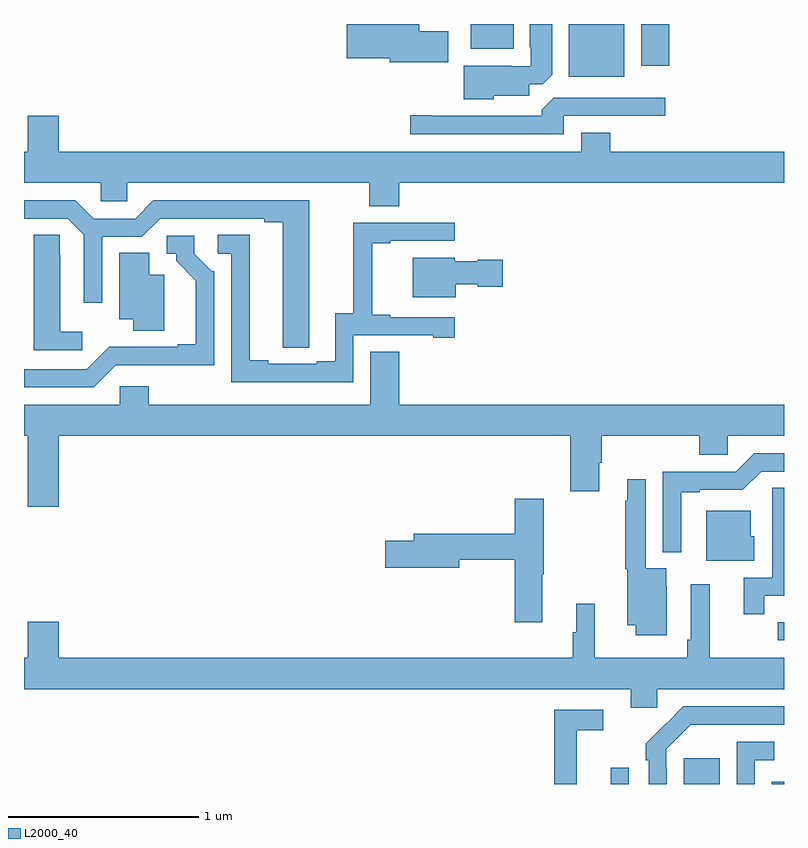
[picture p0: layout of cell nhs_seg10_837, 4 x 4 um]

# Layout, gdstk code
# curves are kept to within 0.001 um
import gdstk
lib = gdstk.Library(unit=1e-6, precision=1e-09)
def R(c, l, rs):  # rectangles x0, y0, x1, y1
    for r in rs: c.add(gdstk.rectangle(r[:2], r[2:], *l))
def P(c, l, *ps):  # polygons
    for p in ps: c.add(gdstk.Polygon(p, *l))
L2000_40 = (2000, 40)

nhs_seg10_837 = lib.new_cell('nhs_seg10_837')
R(nhs_seg10_837, L2000_40, [(156.087,1282.5,156.183,1282.585), (156.473,1282.5,156.661,1282.636), (156.936,1282.5,157,1282.513), (156.966,1283.256,157,1283.352), (155.867,1286.222,156.16,1286.5), (156.248,1286.28,156.395,1286.5), (155.351,1286.369,155.578,1286.5)])
P(nhs_seg10_837, L2000_40, [(155.233,1286.463),(155.08,1286.463),(155.08,1286.5),(154.698,1286.5),(154.698,1286.321),(154.925,1286.321),(154.925,1286.3),(155.233,1286.3)],
  [(155.472,1286.123),(155.659,1286.123),(155.659,1286.184),(155.73,1286.184),(155.779,1286.233),(155.779,1286.5),(155.663,1286.5),(155.663,1286.377),(155.667,1286.377),(155.667,1286.277),(155.567,1286.277),(155.567,1286.281),(155.315,1286.281),(155.315,1286.105),(155.472,1286.105)],
  [(155.841,1286.016),(156.376,1286.016),(156.376,1286.112),(155.787,1286.112),(155.726,1286.05),(155.726,1286.016),(155.146,1286.016),(155.146,1286.021),(155.034,1286.021),(155.034,1285.92),(155.841,1285.92)],
  [(154.976,1285.664),(157,1285.664),(157,1285.828),(156.086,1285.828),(156.086,1285.927),(155.933,1285.927),(155.933,1285.828),(153.184,1285.828),(153.184,1286.017),(153.02,1286.017),(153.02,1285.828),(153,1285.828),(153,1285.664),(153.405,1285.664),(153.405,1285.566),(153.543,1285.566),(153.543,1285.664),(154.816,1285.664),(154.816,1285.54),(154.976,1285.54)],
  [(154.5,1284.904),(154.501,1285.572),(153.681,1285.572),(153.585,1285.476),(153.367,1285.476),(153.271,1285.572),(153,1285.572),(153,1285.476),(153.231,1285.476),(153.315,1285.392),(153.315,1285.032),(153.411,1285.032),(153.411,1285.38),(153.621,1285.38),(153.717,1285.476),(154.265,1285.476),(154.265,1285.456),(154.361,1285.456),(154.361,1284.796),(154.5,1284.796)],
  [(154.734,1284.861),(155.153,1284.861),(155.153,1284.849),(155.266,1284.849),(155.266,1284.957),(154.927,1284.957),(154.927,1284.97),(154.832,1284.97),(154.832,1285.347),(154.927,1285.347),(154.927,1285.359),(155.266,1285.359),(155.266,1285.455),(154.732,1285.455),(154.732,1284.977),(154.637,1284.977),(154.637,1284.726),(154.541,1284.726),(154.541,1284.711),(154.285,1284.711),(154.285,1284.731),(154.189,1284.731),(154.189,1285.391),(154.02,1285.391),(154.02,1285.29),(154.092,1285.29),(154.092,1284.615),(154.734,1284.615)],
  [(153.307,1284.88),(153.19,1284.88),(153.19,1285.283),(153.189,1285.283),(153.189,1285.391),(153.05,1285.391),(153.05,1284.783),(153.307,1284.783)],
  [(153.483,1284.705),(154.002,1284.704),(154.002,1285.2),(153.987,1285.2),(153.897,1285.29),(153.897,1285.386),(153.75,1285.386),(153.75,1285.29),(153.8,1285.29),(153.8,1285.255),(153.905,1285.15),(153.905,1284.814),(153.809,1284.814),(153.809,1284.801),(153.448,1284.802),(153.33,1284.684),(153,1284.684),(153,1284.588),(153.366,1284.588)],
  [(153.739,1285.18),(153.658,1285.18),(153.658,1285.295),(153.5,1285.295),(153.5,1284.947),(153.575,1284.947),(153.575,1284.886),(153.739,1284.886)],
  [(155.272,1285.13),(155.388,1285.13),(155.388,1285.118),(155.521,1285.118),(155.521,1285.26),(155.388,1285.26),(155.388,1285.252),(155.268,1285.252),(155.268,1285.27),(155.045,1285.27),(155.045,1285.061),(155.272,1285.061)],
  [(153.184,1284.332),(155.876,1284.332),(155.876,1284.042),(156.028,1284.042),(156.028,1284.19),(156.041,1284.19),(156.041,1284.332),(156.554,1284.332),(156.554,1284.234),(156.705,1284.234),(156.705,1284.332),(157,1284.332),(157,1284.496),(154.976,1284.496),(154.976,1284.776),(154.823,1284.776),(154.823,1284.496),(153.656,1284.496),(153.656,1284.594),(153.504,1284.594),(153.504,1284.496),(153,1284.496),(153,1284.332),(153.02,1284.332),(153.02,1283.958),(153.184,1283.958)],
  [(156.46,1284.036),(156.556,1284.036),(156.556,1284.048),(156.783,1284.048),(156.879,1284.144),(157,1284.144),(157,1284.24),(156.843,1284.24),(156.747,1284.144),(156.363,1284.144),(156.363,1283.72),(156.46,1283.72)],
  [(156.382,1283.538),(156.379,1283.538),(156.379,1283.635),(156.273,1283.635),(156.273,1284.103),(156.176,1284.103),(156.176,1283.99),(156.165,1283.99),(156.165,1283.631),(156.176,1283.631),(156.176,1283.336),(156.221,1283.336),(156.221,1283.283),(156.382,1283.283)],
  [(156.896,1283.49),(157,1283.49),(157,1284.059),(156.939,1284.059),(156.939,1283.948),(156.938,1283.948),(156.938,1283.586),(156.788,1283.586),(156.788,1283.394),(156.896,1283.394)],
  [(155.728,1283.603),(155.736,1283.603),(155.736,1284.001),(155.582,1284.001),(155.582,1283.816),(155.051,1283.816),(155.051,1283.78),(154.902,1283.78),(154.902,1283.638),(155.29,1283.638),(155.29,1283.68),(155.582,1283.68),(155.582,1283.352),(155.728,1283.352)],
  [(156.844,1283.805),(156.826,1283.805),(156.826,1283.938),(156.59,1283.938),(156.59,1283.675),(156.844,1283.675)],
  [(156.333,1283),(157,1283),(157,1283.164),(156.608,1283.164),(156.608,1283.551),(156.51,1283.551),(156.51,1283.26),(156.49,1283.26),(156.49,1283.164),(156.005,1283.164),(156.005,1283.449),(155.906,1283.449),(155.906,1283.298),(155.887,1283.298),(155.887,1283.164),(153.184,1283.164),(153.184,1283.353),(153.02,1283.353),(153.02,1283.164),(153,1283.164),(153,1283),(156.194,1283),(156.194,1282.902),(156.333,1282.902)],
  [(156.384,1282.583),(156.381,1282.583),(156.381,1282.683),(156.51,1282.812),(157,1282.812),(157,1282.908),(156.47,1282.908),(156.273,1282.713),(156.273,1282.625),(156.288,1282.625),(156.288,1282.5),(156.384,1282.5)],
  [(155.909,1282.782),(156.049,1282.782),(156.049,1282.89),(155.791,1282.89),(155.791,1282.5),(155.909,1282.5)],
  [(156.846,1282.626),(156.949,1282.626),(156.949,1282.722),(156.75,1282.722),(156.75,1282.5),(156.846,1282.5)])

lib.write_gds('nhs_seg10_837.gds')
